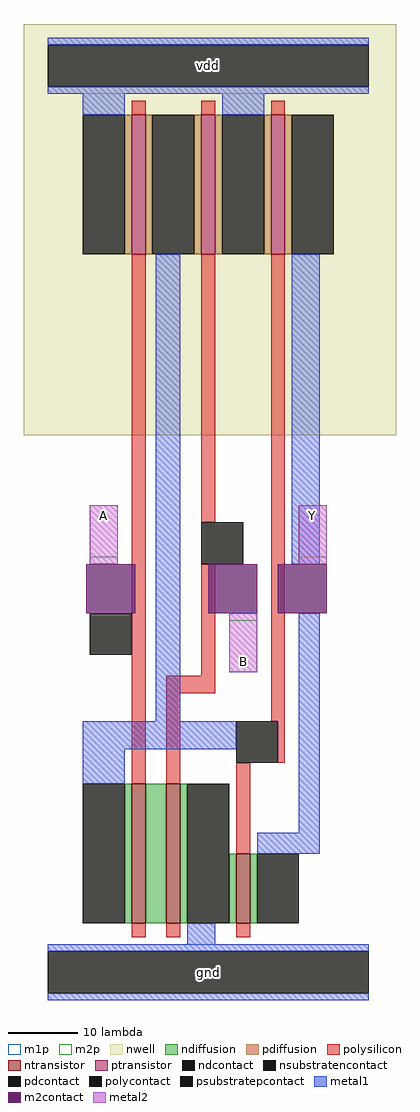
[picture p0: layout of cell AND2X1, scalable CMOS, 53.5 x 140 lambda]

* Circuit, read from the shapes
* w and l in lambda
.subckt AND2X1 A B Y vdd gnd
M1 n1 A n2 gnd nfet w=20 l=2
M2 gnd B n1 gnd nfet w=20 l=2
M3 Y n2 gnd gnd nfet w=10 l=2
M4 n2 A vdd vdd pfet w=20 l=2
M5 vdd B n2 vdd pfet w=20 l=2
M6 Y n2 vdd vdd pfet w=20 l=2
.ends

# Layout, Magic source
magic
tech scmos
magscale 1 2
<< nwell >>
rect -13 154 94 272
<< ntransistor >>
rect 18 14 22 54
rect 28 14 32 54
rect 48 14 52 34
<< ptransistor >>
rect 18 206 22 246
rect 38 206 42 246
rect 58 206 62 246
<< ndiffusion >>
rect 16 14 18 54
rect 22 14 28 54
rect 32 14 34 54
rect 46 14 48 34
rect 52 14 54 34
<< pdiffusion >>
rect 16 206 18 246
rect 22 206 24 246
rect 36 206 38 246
rect 42 206 44 246
rect 56 206 58 246
rect 62 206 64 246
<< ndcontact >>
rect 4 14 16 54
rect 34 14 46 54
rect 54 14 66 34
<< pdcontact >>
rect 4 206 16 246
rect 24 206 36 246
rect 44 206 56 246
rect 64 206 76 246
<< psubstratepcontact >>
rect -6 -6 86 6
<< nsubstratencontact >>
rect -6 254 86 266
<< polysilicon >>
rect 18 246 22 250
rect 38 246 42 250
rect 58 246 62 250
rect 18 54 22 206
rect 38 129 42 206
rect 38 85 42 117
rect 28 80 42 85
rect 28 54 32 80
rect 58 72 62 206
rect 60 60 62 72
rect 48 34 52 60
rect 18 10 22 14
rect 28 10 32 14
rect 48 10 52 14
<< polycontact >>
rect 6 91 18 103
rect 38 117 50 129
rect 48 60 60 72
<< metal1 >>
rect -6 266 86 268
rect -6 252 86 254
rect 4 246 16 252
rect 44 246 56 252
rect 25 72 32 206
rect 64 117 72 206
rect 4 64 48 72
rect 4 54 16 64
rect 66 40 72 103
rect 54 34 72 40
rect 34 8 42 14
rect -6 6 86 8
rect -6 -8 86 -6
<< m2contact >>
rect 5 103 19 117
rect 40 103 54 117
rect 60 103 74 117
<< metal2 >>
rect 6 117 14 134
rect 66 117 74 134
rect 46 86 54 103
<< m1p >>
rect -6 252 86 268
rect -6 -8 86 8
<< m2p >>
rect 6 119 14 134
rect 66 119 74 134
rect 46 86 54 101
<< labels >>
rlabel metal2 10 131 10 131 1 A
port 1 n signal input
rlabel metal2 50 89 50 89 1 B
port 2 n signal input
rlabel metal2 70 131 70 131 5 Y
port 3 n signal output
rlabel metal1 -6 252 86 268 0 vdd
port 4 nsew power bidirectional abutment
rlabel metal1 -6 -8 86 8 0 gnd
port 5 nsew ground bidirectional abutment
<< properties >>
string FIXED_BBOX 0 0 80 260
string LEFclass CORE
string LEFsite core
string LEFsymmetry X Y
<< end >>
